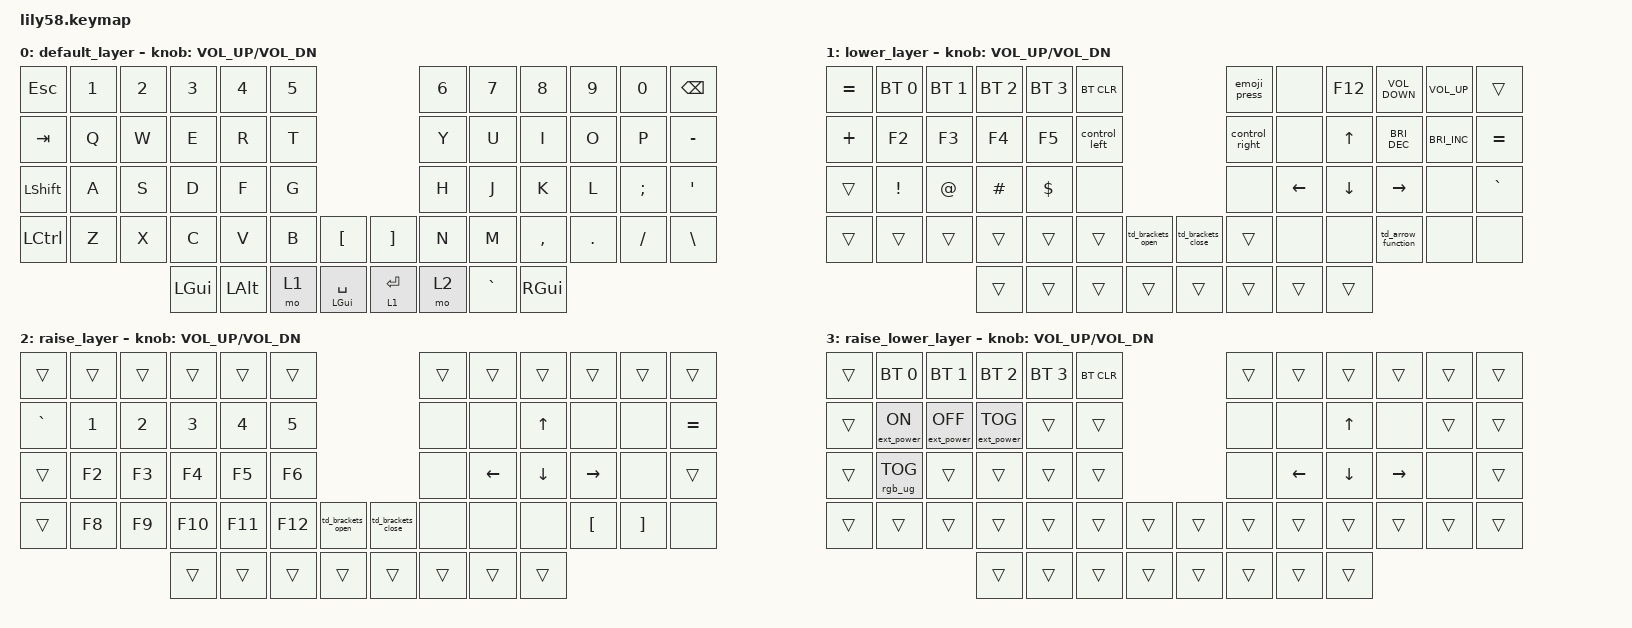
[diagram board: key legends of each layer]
/*
 * Copyright (c) 2020 The ZMK Contributors
 *
 * SPDX-License-Identifier: MIT
 */

#include <behaviors.dtsi>
#include <dt-bindings/zmk/keys.h>
#include <dt-bindings/zmk/bt.h>
#include <dt-bindings/zmk/ext_power.h>
#include <dt-bindings/zmk/rgb.h>

/ {
    macros {
        macro_cmd_space: macro_cmd_space {
            compatible = "zmk,behavior-macro";
            label = "macro_cmd_space";
            #binding-cells = <0>;
            bindings =
                <&macro_press>,
                <&kp LEFT_GUI>,
                <&macro_tap>,
                <&kp SPACE>,
                <&macro_release>,
                <&kp LEFT_GUI>;
        };
        macro_arrow_function: macro_arrow_function {
            compatible = "zmk,behavior-macro";
            label = "macro_arrow_function";
            #binding-cells = <0>;
            bindings =
                <&macro_tap>,
                <&kp EQUAL>,
                <&macro_tap>,
                <&kp GREATER_THAN>;
        };
        control_right: control_right {
            compatible = "zmk,behavior-macro";
            label = "control_right";
            #binding-cells = <0>;
            bindings =
                <&macro_press>,
                <&kp LEFT_CONTROL>,
                <&macro_tap>,
                <&kp RIGHT>,
                <&macro_release>,
                <&kp LEFT_CONTROL>;
        };
        control_left: control_left {
            compatible = "zmk,behavior-macro";
            label = "control_left";
            #binding-cells = <0>;
            bindings =
                <&macro_press>,
                <&kp LEFT_CONTROL>,
                <&macro_tap>,
                <&kp LEFT>,
                <&macro_release>,
                <&kp LEFT_CONTROL>;
        };
        emoji_press: emoji_press {
            compatible = "zmk,behavior-macro";
            label = "emoji_press";
            #binding-cells = <0>;
            bindings =
                <&macro_press>,
                <&kp LEFT_CONTROL &kp LEFT_COMMAND>,
                <&macro_tap>,
                <&kp SPACE>,
                <&macro_release>,
                <&kp LEFT_CONTROL &kp LEFT_COMMAND>;
        };
    };

    conditional_layers {
        compatible = "zmk,conditional-layers";

        tri_layer {
            if-layers = <1 2>;
            then-layer = <3>;
        };
    };

    behaviors {
        ht_tp: hold_tap_tap_preferred {
            compatible = "zmk,behavior-hold-tap";
            label = "HOLD_TAP_TAP_PREFERRED";
            #binding-cells = <2>;
            flavor = "tap-preferred";
            tapping-term-ms = <200>;
            quick-tap-ms = <125>;
            global-quick-tap;
            bindings = <&kp &kp>;
        };
        td_arrow_function: tap_dance_arrow_function {
            compatible = "zmk,behavior-tap-dance";
            label = "TAP_DANCE_ARROW_FUNCTION";
            #binding-cells = <0>;
            tapping-term-ms = <200>;
            bindings =
                <&kp SEMI>,
                <&macro_arrow_function>;
        };
        td_brackets_open: tap_dance_brackets_open {
            compatible = "zmk,behavior-tap-dance";
            label = "TAP_DANCE_BRACKETS_OPEN";
            #binding-cells = <0>;
            tapping-term-ms = <200>;
            bindings =
                <&kp LEFT_PARENTHESIS>,
                <&kp LBKT>,
                <&kp LEFT_BRACE>;
        };
        td_brackets_close: tap_dance_brackets_close {
            compatible = "zmk,behavior-tap-dance";
            label = "TAP_DANCE_BRACKETS_CLOSE";
            #binding-cells = <0>;
            tapping-term-ms = <200>;
            bindings =
                <&kp RIGHT_PARENTHESIS>,
                <&kp RBKT>,
                <&kp RIGHT_BRACE>;
        };
    };

    combos {
        compatible = "zmk,combos";

        raycast {
            bindings = <&macro_cmd_space>;
            key-positions = <53 42>;
            layers = <0 3 1 2>;
        };
    };

    keymap {
        compatible = "zmk,keymap";

        default_layer {
            // ------------------------------------------------------------------------------------------------------------
            // |  ESC  |  1  |  2  |  3   |  4   |  5   |                   |  6   |  7    |  8    |  9   |   0   |   `   |
            // |  TAB  |  Q  |  W  |  E   |  R   |  T   |                   |  Y   |  U    |  I    |  O   |   P   |   -   |
            // |  CTRL |  A  |  S  |  D   |  F   |  G   |                   |  H   |  J    |  K    |  L   |   ;   |   '   |
            // | SHIFT |  Z  |  X  |  C   |  V   |  B   |   "["  |  |  "]"  |  N   |  M    |  ,    |  .   |   /   | SHIFT |
            //                     | ALT  | GUI  | LOWER|  SPACE |  | ENTER | RAISE| BSPC  | GUI   |

            bindings = <
          &kp ESC  &kp N1  &kp N2    &kp N3    &kp N4  &kp N5                                        &kp N6     &kp N7         &kp N8   &kp N9    &kp N0  &kp BACKSPACE
          &kp TAB   &kp Q   &kp W     &kp E     &kp R   &kp T                                         &kp Y      &kp U          &kp I    &kp O     &kp P      &kp MINUS
   &kp LEFT_SHIFT   &kp A   &kp S     &kp D     &kp F   &kp G                                         &kp H      &kp J          &kp K    &kp L  &kp SEMI        &kp SQT
 &kp LEFT_CONTROL   &kp Z   &kp X     &kp C     &kp V   &kp B   &kp LEFT_BRACKET  &kp RIGHT_BRACKET   &kp N      &kp M      &kp COMMA  &kp DOT  &kp FSLH  &kp BACKSLASH
                                   &kp LGUI  &kp LALT   &mo 1  &ht_tp LGUI SPACE          &lt 1 RET   &mo 2  &kp GRAVE  &kp RIGHT_GUI
            >;

            sensor-bindings = <&inc_dec_kp C_VOL_UP C_VOL_DN>;
        };

        lower_layer {
            // ------------------------------------------------------------------------------------------------------------
            // | BTCLR | BT1 | BT2 |  BT3 |  BT4 |  BT5 |                   |      |       |       |      |       |       |
            // |  F1   |  F2 |  F3 |  F4  |  F5  |  F6  |                   |  F7  |  F8   |  F9   |  F10 |  F11  |  F12  |
            // |   `   |  !  |  @  |  #   |  $   |  %   |                   |  ^   |  &    |  *    |  (   |   )   |   ~   |
            // |       |     |     |      |      |      |        |  |       |      |  _    |  +    |  {   |   }   |  "|"  |
            //                     |      |      |      |        |  |       |      |       |       |

            bindings = <
 &kp EQUAL  &bt BT_SEL 0  &bt BT_SEL 1  &bt BT_SEL 2  &bt BT_SEL 3     &bt BT_CLR                                           &emoji_press     &none   &kp F12     &kp C_VOLUME_DOWN       &kp C_VOLUME_UP     &trans
  &kp PLUS        &kp F2        &kp F3        &kp F4        &kp F5  &control_left                                         &control_right     &none    &kp UP  &kp C_BRIGHTNESS_DEC  &kp C_BRIGHTNESS_INC  &kp EQUAL
    &trans      &kp EXCL        &kp AT      &kp HASH    &kp DOLLAR          &none                                                  &none  &kp LEFT  &kp DOWN             &kp RIGHT                 &none  &kp GRAVE
    &trans        &trans        &trans        &trans        &trans         &trans  &td_brackets_open  &td_brackets_close          &trans     &none     &none    &td_arrow_function                 &none      &none
                                              &trans        &trans         &trans             &trans              &trans          &trans    &trans    &trans
            >;

            sensor-bindings = <&inc_dec_kp C_VOL_UP C_VOL_DN>;
        };

        raise_layer {
            // ------------------------------------------------------------------------------------------------------------
            // |       |     |     |      |      |      |                   |      |       |       |      |       |       |
            // |   `   |  1  |  2  |  3   |  4   |  5   |                   |  6   |   7   |   8   |  9   |   0   |       |
            // |   F1  |  F2 |  F3 |  F4  |  F5  |  F6  |                   |      |   <-  |   v   |  ^   |  ->   |       |
            // |   F7  |  F8 |  F9 |  F10 |  F11 |  F12 |        |  |       |  +   |   -   |   =   |  [   |   ]   |   \   |
            //                     |      |      |      |        |  |       |      |       |       |

            bindings = <
    &trans  &trans  &trans   &trans   &trans   &trans                                         &trans    &trans    &trans     &trans             &trans     &trans
 &kp GRAVE  &kp N1  &kp N2   &kp N3   &kp N4   &kp N5                                          &none     &none    &kp UP      &none              &none  &kp EQUAL
    &trans  &kp F2  &kp F3   &kp F4   &kp F5   &kp F6                                          &none  &kp LEFT  &kp DOWN  &kp RIGHT              &none     &trans
    &trans  &kp F8  &kp F9  &kp F10  &kp F11  &kp F12  &td_brackets_open  &td_brackets_close   &none     &none     &none   &kp LBKT  &kp RIGHT_BRACKET      &none
                             &trans   &trans   &trans             &trans              &trans  &trans    &trans    &trans
            >;

            sensor-bindings = <&inc_dec_kp C_VOL_UP C_VOL_DN>;
        };

        raise_lower_layer {
            // ------------------------------------------------------------------------------------------------------------
            // |       |     |     |      |      |      |                   |      |       |       |      |       |       |
            // |   `   |  1  |  2  |  3   |  4   |  5   |                   |  6   |   7   |   8   |  9   |   0   |       |
            // |   F1  |  F2 |  F3 |  F4  |  F5  |  F6  |                   |      |   <-  |   v   |  ^   |  ->   |       |
            // |   F7  |  F8 |  F9 |  F10 |  F11 |  F12 |        |  |       |  +   |   -   |   =   |  [   |   ]   |   \   |
            //                     |      |      |      |        |  |       |      |       |       |

            bindings = <
 &trans      &bt BT_SEL 0       &bt BT_SEL 1       &bt BT_SEL 2  &bt BT_SEL 3  &bt BT_CLR                  &trans    &trans    &trans     &trans  &trans  &trans
 &trans  &ext_power EP_ON  &ext_power EP_OFF  &ext_power EP_TOG        &trans      &trans                   &none     &none    &kp UP      &none  &trans  &trans
 &trans   &rgb_ug RGB_TOG             &trans             &trans        &trans      &trans                   &none  &kp LEFT  &kp DOWN  &kp RIGHT   &none  &trans
 &trans            &trans             &trans             &trans        &trans      &trans  &trans  &trans  &trans    &trans    &trans     &trans  &trans  &trans
                                                         &trans        &trans      &trans  &trans  &trans  &trans    &trans    &trans
            >;

            sensor-bindings = <&inc_dec_kp C_VOL_UP C_VOL_DN>;
        };
    };
};
